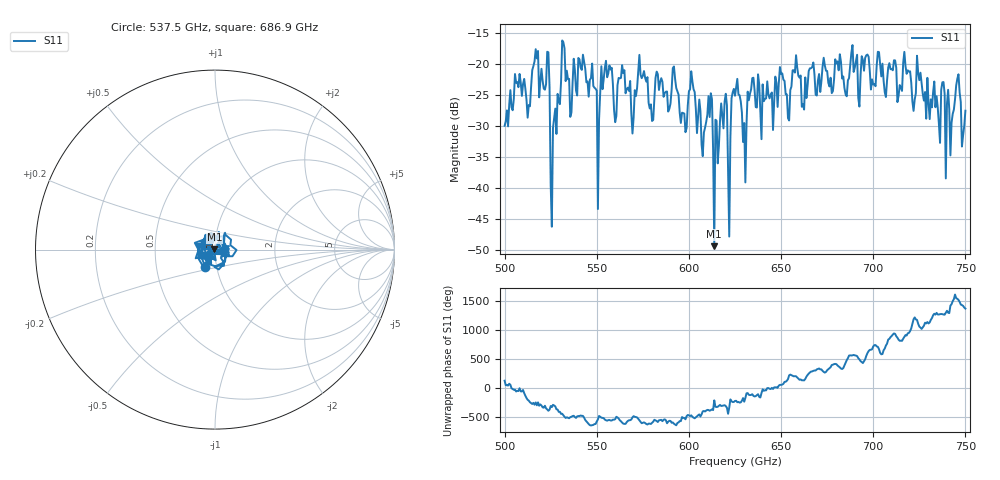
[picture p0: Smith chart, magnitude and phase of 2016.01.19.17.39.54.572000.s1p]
!Created with skrf (http://scikit-rf.org).
# GHz S RI R 50.0
!freq ReS11 ImS11
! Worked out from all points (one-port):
!   401 points, 500 GHz to 750 GHz, reference 50 ohm
!   lowest |S11| = -49.3 dB at 613.8 GHz (marker M1), VSWR 1.01, Z = 49.7 + j0.18 ohm
!   |S11| at or under -10 dB: start of sweep to end of sweep
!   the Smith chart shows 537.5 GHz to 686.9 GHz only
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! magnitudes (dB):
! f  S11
! 500 GHz  -29.9
! 506.9 GHz  -22.9
! 513.1 GHz  -26.6
! 516.9 GHz  -17.6
! 523.1 GHz  -18.0
! 526.2 GHz  -30.3
! 531.2 GHz  -16.2
! 548.1 GHz  -23.5
! 550.6 GHz  -43.3
! 553.8 GHz  -22.5
! 562.5 GHz  -22.3
! 570 GHz  -28.6
! 573.8 GHz  -21.7
! 593.8 GHz  -24.4
! 597.5 GHz  -28.0
! 601.9 GHz  -22.8
! 608.1 GHz  -31.0
! 611.2 GHz  -28.5
! 613.8 GHz  -49.3
! 618.8 GHz  -30.4
! 622.5 GHz  -31.8
! 625 GHz  -25.1
! 630 GHz  -29.5
! 634.4 GHz  -22.3
! 656.2 GHz  -21.0
! 687.5 GHz  -20.3
! 718.8 GHz  -21.0
! 750 GHz  -27.5
